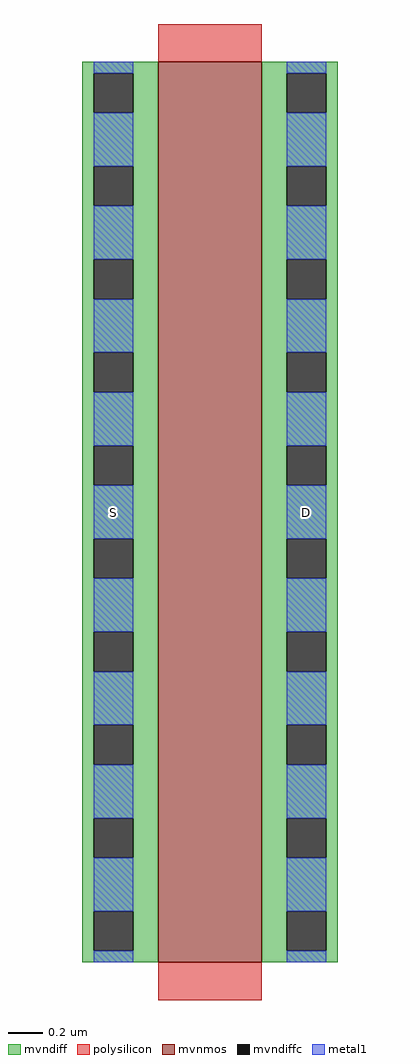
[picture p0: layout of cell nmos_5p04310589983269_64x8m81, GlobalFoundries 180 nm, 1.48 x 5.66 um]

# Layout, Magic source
magic
tech gf180mcuA
magscale 1 10
<< mvnmos >>
rect 0 0 120 1044
<< mvndiff >>
rect -88 1031 0 1044
rect -88 985 -75 1031
rect -29 985 0 1031
rect -88 923 0 985
rect -88 877 -75 923
rect -29 877 0 923
rect -88 815 0 877
rect -88 769 -75 815
rect -29 769 0 815
rect -88 707 0 769
rect -88 661 -75 707
rect -29 661 0 707
rect -88 599 0 661
rect -88 553 -75 599
rect -29 553 0 599
rect -88 491 0 553
rect -88 445 -75 491
rect -29 445 0 491
rect -88 383 0 445
rect -88 337 -75 383
rect -29 337 0 383
rect -88 275 0 337
rect -88 229 -75 275
rect -29 229 0 275
rect -88 167 0 229
rect -88 121 -75 167
rect -29 121 0 167
rect -88 59 0 121
rect -88 13 -75 59
rect -29 13 0 59
rect -88 0 0 13
rect 120 1031 208 1044
rect 120 985 149 1031
rect 195 985 208 1031
rect 120 923 208 985
rect 120 877 149 923
rect 195 877 208 923
rect 120 815 208 877
rect 120 769 149 815
rect 195 769 208 815
rect 120 707 208 769
rect 120 661 149 707
rect 195 661 208 707
rect 120 599 208 661
rect 120 553 149 599
rect 195 553 208 599
rect 120 491 208 553
rect 120 445 149 491
rect 195 445 208 491
rect 120 383 208 445
rect 120 337 149 383
rect 195 337 208 383
rect 120 275 208 337
rect 120 229 149 275
rect 195 229 208 275
rect 120 167 208 229
rect 120 121 149 167
rect 195 121 208 167
rect 120 59 208 121
rect 120 13 149 59
rect 195 13 208 59
rect 120 0 208 13
<< mvndiffc >>
rect -75 985 -29 1031
rect -75 877 -29 923
rect -75 769 -29 815
rect -75 661 -29 707
rect -75 553 -29 599
rect -75 445 -29 491
rect -75 337 -29 383
rect -75 229 -29 275
rect -75 121 -29 167
rect -75 13 -29 59
rect 149 985 195 1031
rect 149 877 195 923
rect 149 769 195 815
rect 149 661 195 707
rect 149 553 195 599
rect 149 445 195 491
rect 149 337 195 383
rect 149 229 195 275
rect 149 121 195 167
rect 149 13 195 59
<< polysilicon >>
rect 0 1044 120 1088
rect 0 -44 120 0
<< metal1 >>
rect -75 1031 -29 1044
rect -75 923 -29 985
rect -75 815 -29 877
rect -75 707 -29 769
rect -75 599 -29 661
rect -75 491 -29 553
rect -75 383 -29 445
rect -75 275 -29 337
rect -75 167 -29 229
rect -75 59 -29 121
rect -75 0 -29 13
rect 149 1031 195 1044
rect 149 923 195 985
rect 149 815 195 877
rect 149 707 195 769
rect 149 599 195 661
rect 149 491 195 553
rect 149 383 195 445
rect 149 275 195 337
rect 149 167 195 229
rect 149 59 195 121
rect 149 0 195 13
<< labels >>
flabel metal1 s -52 522 -52 522 0 FreeSans 200 0 0 0 S
flabel metal1 s 172 522 172 522 0 FreeSans 200 0 0 0 D
<< properties >>
string GDS_END 17978
string GDS_FILE $PDKPATH/libs.ref/gf180mcu_fd_ip_sram/gds/gf180mcu_fd_ip_sram__sram64x8m8wm1.gds
string GDS_START 15802
<< end >>
